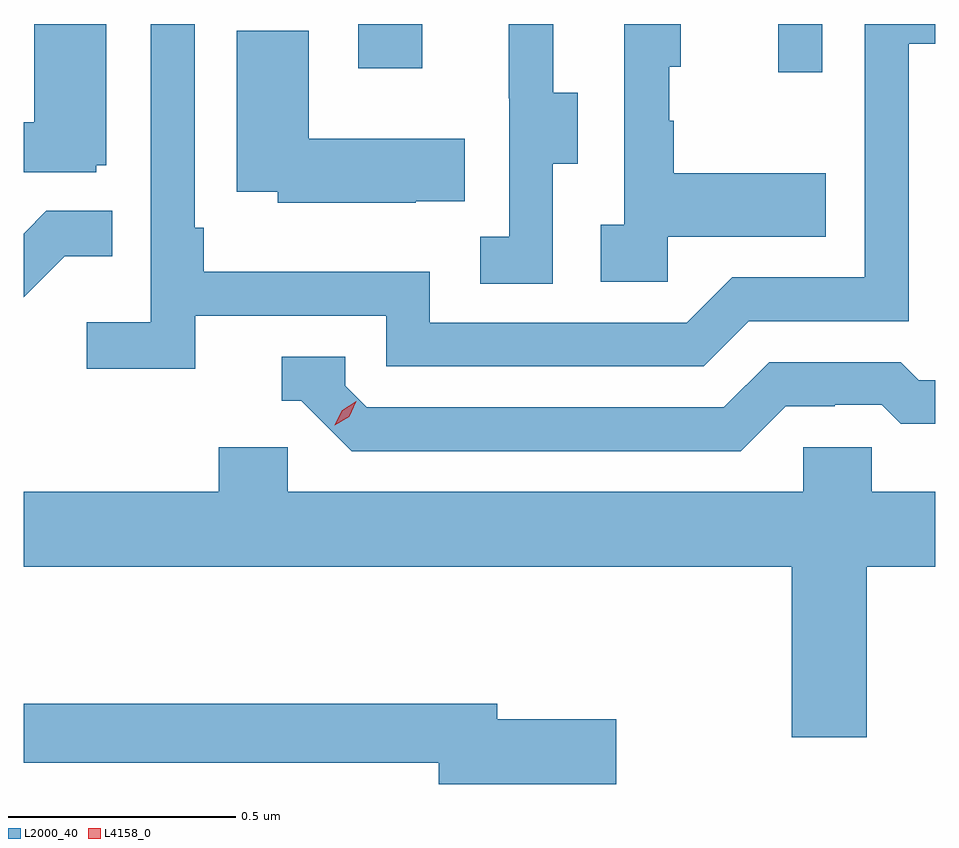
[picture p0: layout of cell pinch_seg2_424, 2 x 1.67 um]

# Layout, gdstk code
import gdstk
lib = gdstk.Library(unit=1e-6, precision=1e-09)
def R(c, l, rs):  # rectangles x0, y0, x1, y1
    for r in rs: c.add(gdstk.rectangle(r[:2], r[2:], *l))
def P(c, l, *ps):  # polygons
    for p in ps: c.add(gdstk.Polygon(p, *l))
L2000_40 = (2000, 40)
L4158_0 = (4158, 0)

pinch_seg2_424 = lib.new_cell('pinch_seg2_424')
R(pinch_seg2_424, L2000_40, [(1016.126,622.08,1016.223,622.186), (1015.205,622.089,1015.345,622.186)])
P(pinch_seg2_424, L2000_40, [(1014.848,621.546),(1015.266,621.546),(1015.266,621.435),(1015.963,621.435),(1016.062,621.534),(1016.412,621.534),(1016.412,622.143),(1016.471,622.143),(1016.471,622.186),(1016.316,622.186),(1016.316,621.63),(1016.025,621.63),(1015.926,621.531),(1015.362,621.531),(1015.362,621.643),(1014.866,621.643),(1014.866,621.739),(1014.846,621.739),(1014.846,622.186),(1014.75,622.186),(1014.75,621.532),(1014.609,621.532),(1014.609,621.43),(1014.848,621.43)],
  [(1014.63,621.876),(1014.652,621.876),(1014.652,622.186),(1014.494,622.186),(1014.494,621.97),(1014.471,621.97),(1014.471,621.861),(1014.63,621.861)],
  [(1015.632,621.88),(1015.687,621.88),(1015.687,622.035),(1015.633,622.035),(1015.633,622.186),(1015.535,622.186),(1015.535,622.023),(1015.536,622.023),(1015.536,621.719),(1015.473,621.719),(1015.473,621.616),(1015.632,621.616)],
  [(1015.884,621.719),(1016.231,621.719),(1016.231,621.859),(1015.897,621.859),(1015.897,621.974),(1015.887,621.974),(1015.887,622.092),(1015.912,622.092),(1015.912,622.186),(1015.788,622.186),(1015.788,621.746),(1015.737,621.746),(1015.737,621.621),(1015.884,621.621)],
  [(1015.331,621.797),(1015.439,621.797),(1015.439,621.934),(1015.096,621.934),(1015.096,622.171),(1014.938,622.171),(1014.938,621.818),(1015.029,621.818),(1015.029,621.794),(1015.331,621.794)],
  [(1014.561,621.677),(1014.665,621.677),(1014.665,621.776),(1014.521,621.776),(1014.471,621.726),(1014.471,621.587)],
  [(1016.143,621.348),(1016.25,621.348),(1016.25,621.351),(1016.353,621.351),(1016.395,621.309),(1016.471,621.309),(1016.471,621.405),(1016.434,621.405),(1016.395,621.444),(1016.106,621.444),(1016.007,621.345),(1015.224,621.345),(1015.176,621.393),(1015.176,621.456),(1015.037,621.456),(1015.037,621.36),(1015.08,621.36),(1015.191,621.249),(1016.044,621.249)],
  [(1016.32,620.996),(1016.471,620.996),(1016.471,621.16),(1016.331,621.16),(1016.331,621.258),(1016.181,621.258),(1016.181,621.16),(1015.05,621.16),(1015.05,621.258),(1014.899,621.258),(1014.899,621.16),(1014.471,621.16),(1014.471,620.996),(1016.156,620.996),(1016.156,620.622),(1016.32,620.622)],
  [(1015.771,620.661),(1015.51,620.661),(1015.51,620.695),(1014.471,620.695),(1014.471,620.566),(1015.382,620.566),(1015.382,620.519),(1015.771,620.519)])
P(pinch_seg2_424, L4158_0, [(1015.153,621.306),(1015.153,621.307),(1015.17,621.339),(1015.201,621.358),(1015.201,621.358),(1015.201,621.358),(1015.185,621.325),(1015.154,621.306)])

lib.write_gds('pinch_seg2_424.gds')
